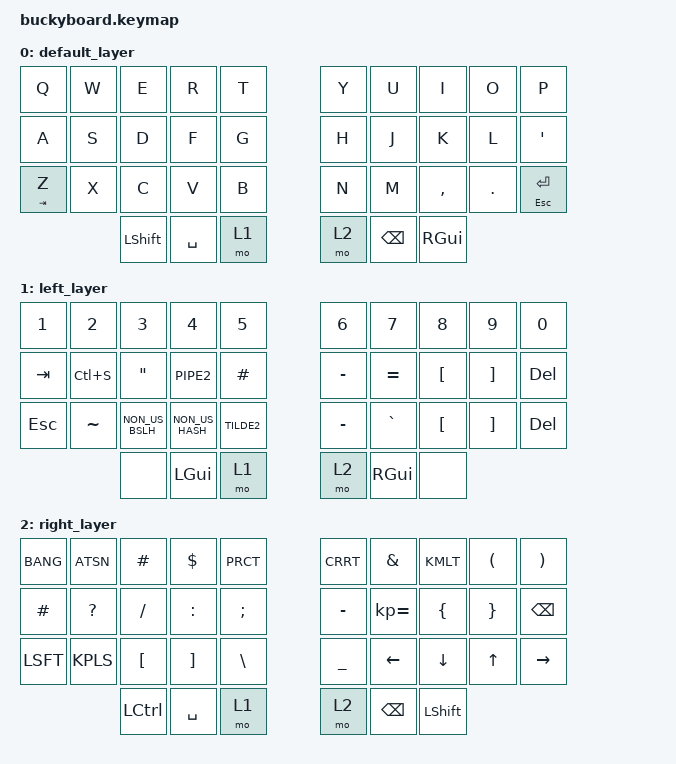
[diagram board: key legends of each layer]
/*
 * Copyright (c) 2020 The ZMK Contributors
 *
 * SPDX-License-Identifier: MIT
 */

#include <behaviors.dtsi>
#include <dt-bindings/zmk/keys.h>
#include <dt-bindings/zmk/bt.h>


&mt {
  //  flavor = "tap-preferred";
  // tapping_term_ms = <200>;
};

{ 

  combos {
    compatible = "zmk,combos";
    combo_esc {
      timeout-ms = <50>;
      key-positions = <0 1>;
      bindings = <&kp ESC>;
    };

    combo_tab {
      timeout-ms = <50>;
      key-positions = <10 11>;
      bindings = <&kp TAB>;
    };

    combo_ralt {
      timeout-ms = <50>;
      key-positions = <17 16>;
      bindings = <&kp RALT>;
    };

    combo_lalt {
      timeout-ms = <50>;
      key-positions = <11 12>;
      bindings = <&kp LALT>;
    };

    combo_lgui {
      timeout-ms = <50>;
      key-positions = <12 13>;
      bindings = <&kp LGUI>;
    };


    combo_rgui {
      timeout-ms = <50>;
      key-positions = <17 18>;
      bindings = <&kp RGUI>;
    };



  };

  keymap {
    compatible = "zmk,keymap";

    default_layer {
      bindings = <
        &kp Q &kp W &kp E &kp R &kp T             &kp Y &kp U  &kp I    &kp O   &kp P 
        &kp A &kp S &kp D &kp F &kp G             &kp H &kp J &kp K &kp L &kp QUOT
        &mt TAB Z &kp X &kp C &kp V &kp B         &kp N &kp M  &kp CMMA &kp DOT &mt ESC RET
        &kp LSHFT &kp SPACE &mo 1                 &mo 2 &kp BKSP &kp RGUI 
        >;
    };

    left_layer {
      bindings = <
        &kp NUM_1  &kp NUM_2    &kp NUM_3    &kp NUM_4          &kp NUM_5    &kp NUM_6 &kp NUM_7 &kp NUM_8 &kp NUM_9 &kp NUM_0 
        &kp TAB    &kp LC(S)    &kp DQT      &kp PIPE2          &kp HASH     &kp MINUS &kp EQL  &kp LBKT &kp RBKT  &kp DEL 
        &kp ESC    &kp TILDE   &kp NON_US_BSLH &kp NON_US_HASH  &kp TILDE2   &kp MINUS &kp GRAVE &kp LBKT &kp RBKT  &kp DEL 
        &none &kp LGUI &mo 1                                   &mo 2 &kp RGUI &none 
        >;
    };

    right_layer {
      bindings = <
        &kp BANG  &kp ATSN &kp HASH  &kp DLLR  &kp PRCT         &kp CRRT  &kp AMPS &kp KMLT &kp LPRN &kp RPRN 
        &kp HASH  &kp QMARK  &kp FSLH  &kp COLN  &kp SCLN       &kp MINUS &kp KP_EQUAL  &kp LBRC  &kp RBRC   &kp BKSP
        &kp LSFT  &kp KPLS &kp LBKT &kp RBKT   &kp BSLH         &kp UNDER &kp LEFT &kp DOWN &kp UP  &kp RIGHT
        &kp LCTL &kp SPACE &mo 1                                &mo 2 &kp BKSP &kp LSHFT 
        >;
    };  

  };
};
